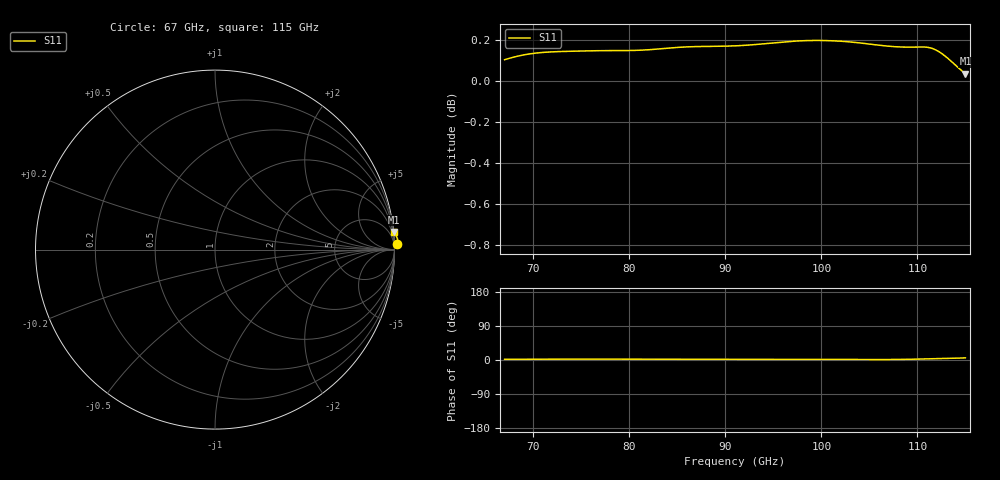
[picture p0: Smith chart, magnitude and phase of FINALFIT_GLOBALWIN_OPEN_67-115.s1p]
! Generated by Phase I extraction
# Hz S RI R 50
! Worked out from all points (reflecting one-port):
!   1001 points, 67 GHz to 115 GHz, reference 50 ohm
!   lowest |S11| = 0.0 dB at 115 GHz (marker M1)
!   phase of S11 starts at 2 deg and turns +4 deg over the sweep
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6.7e10  1.011 0.0316
6.9736e10  1.015 0.0368
7.1464e10  1.015 0.0395
7.3e10  1.016 0.0409
7.5256e10  1.016 0.0411
7.9e10  1.016 0.0391
8.308e10  1.017 0.0377
8.5e10  1.018 0.0363
8.8312e10  1.019 0.0328
9.1e10  1.019 0.032
9.412e10  1.021 0.0309
9.7e10  1.022 0.0274
9.9928e10  1.023 0.0231
1.03e11  1.022 0.0198
1.04872e11  1.021 0.019
1.06312e11  1.02 0.0205
1.07656e11  1.019 0.0247
1.09e11  1.018 0.032
1.0972e11  1.018 0.0369
1.0996e11  1.018 0.0386
1.11016e11  1.017 0.0542
1.11448e11  1.017 0.0594
1.1188e11  1.015 0.0638
1.12696e11  1.012 0.0708
1.13608e11  1.007 0.0791
1.14088e11  1.005 0.0848
1.14808e11  1 0.095
1.15e11  0.9992 0.0982
